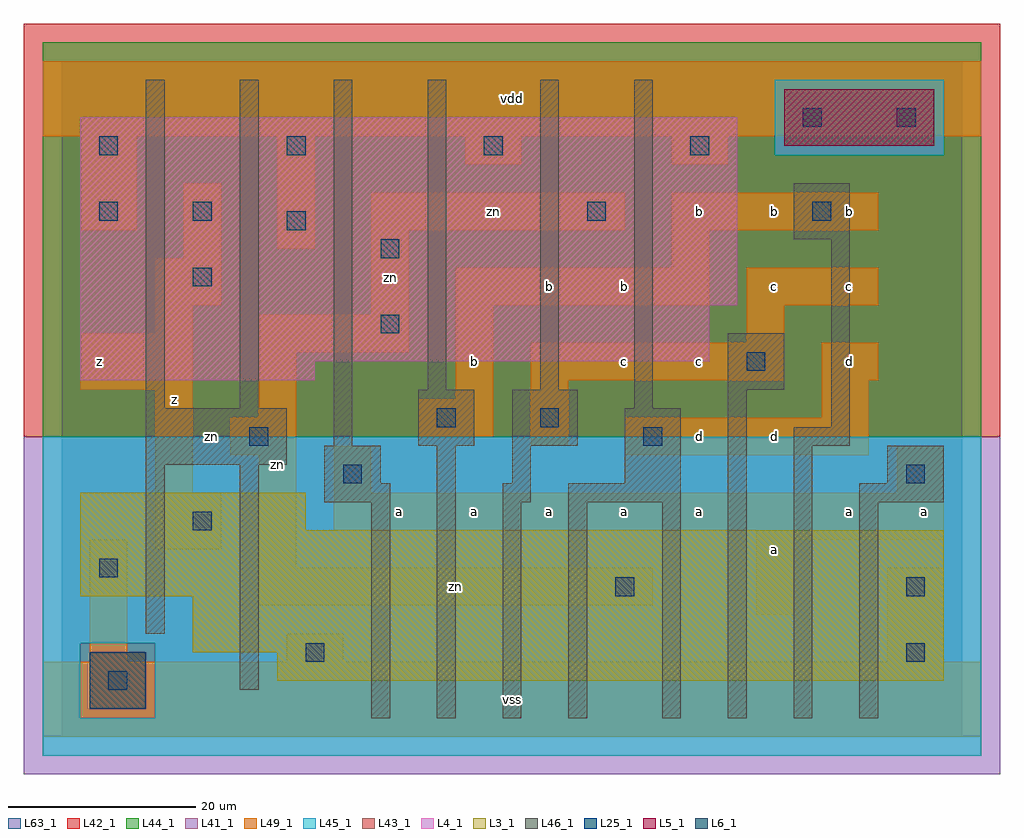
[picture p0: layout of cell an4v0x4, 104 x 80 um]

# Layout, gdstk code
import gdstk
lib = gdstk.Library(unit=1e-6, precision=1e-09)
def R(c, l, rs):  # rectangles x0, y0, x1, y1
    for r in rs: c.add(gdstk.rectangle(r[:2], r[2:], *l))
L3_1 = (3, 1)
L4_1 = (4, 1)
L5_1 = (5, 1)
L6_1 = (6, 1)
L25_1 = (25, 1)
L41_1 = (41, 1)
L42_1 = (42, 1)
L43_1 = (43, 1)
L44_1 = (44, 1)
L45_1 = (45, 1)
L46_1 = (46, 1)
L49_1 = (49, 1)
L63_1 = (63, 1)

an4v0x4 = lib.new_cell('an4v0x4')
R(an4v0x4, L3_1, [(23,6,94,9), (14,9,94,15), (2,15,94,22), (2,22,26,26)])
R(an4v0x4, L4_1, [(2,38,27,40), (2,40,69,46), (2,46,72,66)])
R(an4v0x4, L5_1, [(77,63,93,69)])
R(an4v0x4, L6_1, [(3,3,9,9), (3,3,9,9)])
R(an4v0x4, L25_1, [(5,5,7,7), (26,8,28,10), (90,8,92,10), (59,15,61,17), (90,15,92,17), (4,17,6,19), (14,22,16,24), (30,27,32,29), (90,27,92,29), (20,31,22,33), (62,31,64,33), (40,33,42,35), (51,33,53,35), (73,39,75,41), (34,43,36,45), (14,48,16,50), (34,51,36,53), (24,54,26,56), (4,55,6,57), (14,55,16,57), (56,55,58,57), (80,55,82,57), (4,62,6,64), (24,62,26,64), (45,62,47,64), (67,62,69,64), (79,65,81,67), (89,65,91,67)])
R(an4v0x4, L41_1, [(-4,-4,100,32)])
R(an4v0x4, L42_1, [(-4,32,100,76)])
R(an4v0x4, L43_1, [(3,3,9,9), (23,6,94,9), (14,9,94,15), (2,15,94,22), (2,22,26,26), (2,38,27,40), (2,40,69,46), (2,46,72,66), (77,63,93,69)])
R(an4v0x4, L44_1, [(2,2,10,10), (-2,32,98,62), (-2,62,76,70), (94,62,98,70), (-2,70,98,74)])
R(an4v0x4, L45_1, [(-2,-2,98,2), (-2,2,2,10), (10,2,98,10), (-2,10,98,32), (76,62,94,70)])
R(an4v0x4, L46_1, [(33,2,35,25), (40,2,42,31), (47,2,49,25), (54,2,56,25), (64,2,66,25), (71,2,73,37), (78,2,80,31), (85,2,87,25), (19,5,21,29), (9,11,11,29), (28,25,35,27), (47,25,50,27), (54,25,66,27), (85,25,94,27), (28,27,34,31), (48,27,50,31), (60,27,66,35), (88,27,94,31), (9,29,24,35), (29,31,31,70), (38,31,44,37), (48,31,55,37), (78,31,84,33), (82,33,84,53), (9,35,11,70), (19,35,21,70), (61,35,63,70), (39,37,41,70), (51,37,53,70), (71,37,77,43), (78,53,84,59)])
R(an4v0x4, L49_1, [(-2,0,98,8), (3,8,7,21), (24,8,30,11), (88,8,94,18), (74,13,78,21), (21,14,63,18), (21,18,25,30), (10,20,17,26), (74,21,94,22), (29,22,94,26), (10,26,14,37), (29,26,33,31), (89,26,94,31), (18,30,25,34), (60,30,86,34), (50,31,54,38), (38,32,46,36), (21,34,25,41), (81,34,86,38), (42,36,46,46), (2,37,14,43), (50,38,77,42), (81,38,87,42), (21,41,37,45), (73,42,77,46), (10,43,14,46), (33,45,37,54), (10,46,17,51), (42,46,69,50), (73,46,87,50), (65,50,69,54), (13,51,17,59), (23,52,27,64), (2,54,8,64), (33,54,60,58), (65,54,87,58), (43,61,49,64), (65,61,71,64), (-2,64,98,72)])
R(an4v0x4, L63_1, [(0,0,96,72)])
an4v0x4.add(gdstk.Label('zn', (16,32), layer=46, texttype=1))
an4v0x4.add(gdstk.Label('z', (12,36), layer=49, texttype=1))
an4v0x4.add(gdstk.Label('z', (4,40), layer=49, texttype=1))
an4v0x4.add(gdstk.Label('zn', (23,29), layer=49, texttype=1))
an4v0x4.add(gdstk.Label('zn', (35,49), layer=49, texttype=1))
an4v0x4.add(gdstk.Label('vss', (48,4), layer=49, texttype=1))
an4v0x4.add(gdstk.Label('a', (36,24), layer=49, texttype=1))
an4v0x4.add(gdstk.Label('a', (44,24), layer=49, texttype=1))
an4v0x4.add(gdstk.Label('a', (52,24), layer=49, texttype=1))
an4v0x4.add(gdstk.Label('b', (44,40), layer=49, texttype=1))
an4v0x4.add(gdstk.Label('b', (52,48), layer=49, texttype=1))
an4v0x4.add(gdstk.Label('vdd', (48,68), layer=49, texttype=1))
an4v0x4.add(gdstk.Label('zn', (42,16), layer=49, texttype=1))
an4v0x4.add(gdstk.Label('a', (60,24), layer=49, texttype=1))
an4v0x4.add(gdstk.Label('a', (68,24), layer=49, texttype=1))
an4v0x4.add(gdstk.Label('a', (76,20), layer=49, texttype=1))
an4v0x4.add(gdstk.Label('d', (68,32), layer=49, texttype=1))
an4v0x4.add(gdstk.Label('d', (76,32), layer=49, texttype=1))
an4v0x4.add(gdstk.Label('c', (60,40), layer=49, texttype=1))
an4v0x4.add(gdstk.Label('c', (68,40), layer=49, texttype=1))
an4v0x4.add(gdstk.Label('b', (60,48), layer=49, texttype=1))
an4v0x4.add(gdstk.Label('c', (76,48), layer=49, texttype=1))
an4v0x4.add(gdstk.Label('b', (68,56), layer=49, texttype=1))
an4v0x4.add(gdstk.Label('b', (76,56), layer=49, texttype=1))
an4v0x4.add(gdstk.Label('zn', (46,56), layer=49, texttype=1))
an4v0x4.add(gdstk.Label('a', (84,24), layer=49, texttype=1))
an4v0x4.add(gdstk.Label('a', (92,24), layer=49, texttype=1))
an4v0x4.add(gdstk.Label('d', (84,40), layer=49, texttype=1))
an4v0x4.add(gdstk.Label('c', (84,48), layer=49, texttype=1))
an4v0x4.add(gdstk.Label('b', (84,56), layer=49, texttype=1))

lib.write_gds('an4v0x4.gds')
